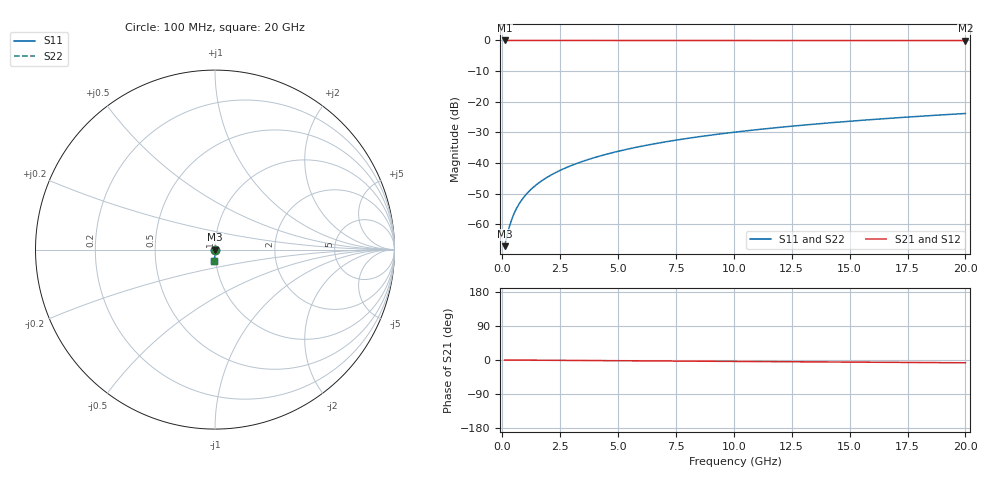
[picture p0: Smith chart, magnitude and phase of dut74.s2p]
! Touchstone file exported from HFSS 2026.1.0
!  File:  C:/ffzhzh/LocalFiles/Ansys_Project_Files/temp_train_TSV_74_1782959347_6388.aedt
!  Generated:  10:30:35 AM Jul  2, 2026
!  Design:  TSV
!  Project:  temp_train_TSV_74_1782959347_6388
! Variables:
!  h_bsmrdl = 2um
!  h_ox = 20um
!  h_rdl = 5um
!  h_sub = 69.12um
!  h_tmrdl = 5um
!  h_tsv = 69.12um
!  h_via = 3um
!  l_bsmrdl = 300um
!  l_sub = 410.02um
!  l_tmrdl = 200um
!  m_sub = 200um
!  pitch = 13.08um
!  r_tsv = 5.01um
!  s_tmrdl = 10um
!  w_bsmrdl = 18um
!  w_sub = 500um
!  w_tmrdl = 12um
!  x_tsv_center1 = 206um
!  x_tsv_center2 = 524um
!  x_tsv_center3 = 736um
!  x_tsv_center4 = 1054um
!  x_tsv_center5 = 1266um
!  x_tsv_center6 = 1584um
# GHz S MA R 50.000000
! Terminal data exported
! Port[1] = TSV1_1_T1
! Port[2] = TSV1_1_T2
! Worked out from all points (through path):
!   200 points, 100 MHz to 20 GHz, reference 50 ohm
!   highest |S21| = 0.00 dB at 100 MHz (marker M1); lowest = 0.0 dB at 20 GHz (marker M2)
!   group delay of S21, straight-line fit = 1.02 ps
!   lowest |S11| = -67.2 dB at 100 MHz (marker M3), VSWR 1.00, Z = 50 - j0.0244 ohm
!   |S11| at or under -10 dB: start of sweep to end of sweep
!   |S22| runs from -67.2 to -23.8 dB; largest |S21 - S12| = 3.1e-15
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0.1  0.0004375 -33.9  0.9996 -0.0  0.9996 -0.0  0.0004375 -33.9
! Gamma 0 0 0 0
! Port Impedance 50 0 50 0
0.2  0.0006414 -51.8  0.9996 -0.1  0.9996 -0.1  0.0006414 -51.8
0.3  0.0008964 -61.0  0.9996 -0.1  0.9996 -0.1  0.0008964 -61.0
0.4  0.001176 -66.4  0.9995 -0.2  0.9995 -0.2  0.001176 -66.4
0.5  0.001467 -70.1  0.9995 -0.2  0.9995 -0.2  0.001467 -70.1
0.6  0.001764 -72.8  0.9995 -0.2  0.9995 -0.2  0.001764 -72.8
0.8  0.002367 -76.5  0.9994 -0.3  0.9994 -0.3  0.002367 -76.5
1.1  0.003277 -79.7  0.9994 -0.4  0.9994 -0.4  0.003277 -79.7
1.5  0.004496 -82.1  0.9993 -0.6  0.9993 -0.6  0.004496 -82.1
1.8  0.005414 -83.2  0.9993 -0.7  0.9993 -0.7  0.005414 -83.2
2.1  0.006337 -84.0  0.9992 -0.8  0.9992 -0.8  0.006337 -84.0
2.7  0.008196 -85.1  0.9991 -1.0  0.9991 -1.0  0.008196 -85.1
3.5  0.0107 -86.1  0.999 -1.3  0.999 -1.3  0.0107 -86.1
4.2  0.01292 -86.7  0.9988 -1.6  0.9988 -1.6  0.01292 -86.7
5  0.01548 -87.4  0.9987 -1.9  0.9987 -1.9  0.01548 -87.4
5.9  0.01838 -88.0  0.9985 -2.2  0.9985 -2.2  0.01838 -88.0
6.8  0.02129 -88.6  0.9983 -2.5  0.9983 -2.5  0.02129 -88.6
8.3  0.02616 -89.5  0.998 -3.1  0.998 -3.1  0.02616 -89.5
10.1  0.03202 -90.5  0.9977 -3.7  0.9977 -3.7  0.03202 -90.5
13.4  0.04275 -92.2  0.997 -4.9  0.997 -4.9  0.04275 -92.2
16.7  0.05348 -93.6  0.9962 -6.1  0.9962 -6.1  0.05348 -93.6
20  0.06421 -95.0  0.9953 -7.3  0.9953 -7.3  0.06421 -95.0
